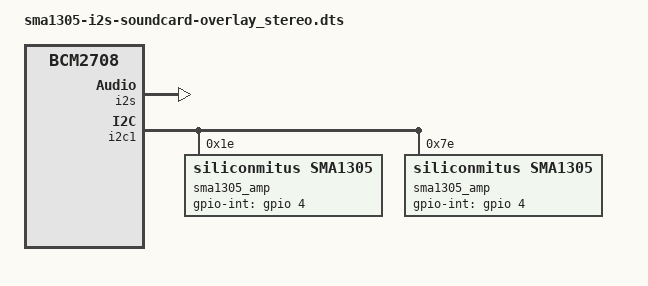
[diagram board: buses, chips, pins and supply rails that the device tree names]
/*
 * Definitions for SMA1305 Amp
 * name : sma1305-i2s-soundcard-overlay.dts
 * Compile for dts
 * dtc -@ -I dts -O dtb -o sma1305-i2s-soundcard.dtbo sma1305-i2s-soundcard-overlay.dts
 * sudo cp sma1305-i2s-soundcard.dtbo /boot/overlays
 * adding dtoverlay sma1305-i2s-soundcard.dtbo in config.txt
 */

/dts-v1/;
/plugin/;

/ {
	compatible = "brcm,bcm2708";

	fragment@0 {
		target = <&i2s>;
		__overlay__ {
			status = "okay";
		};
	};

	fragment@1 {
		target = <&gpio>;
		__overlay__ {
			fault_interrupt_pins: fault_interrupt_pins {
				brcm,pins = <4>;
				brcm,function = <0>; /* input */
				brcm,pull = <2>; /* pull-up */
			};
		};
	};

	fragment@2 {
		target = <&i2c1>;
		__overlay__ {
			#address-cells = <1>;
			#size-cells = <0>;

			status = "okay";

			sma1305_amp: sma1305@1e {
				#sound-dai-cells = <0>;

				compatible = "siliconmitus,sma1305";
				reg = <0x1e>;
				init-vol = <0x32>;
				stereo-two-chip;
				/* EXTERNAL_CLOCK_19_2   : 0x00,
				 * EXTERNAL_CLOCK_24_576 : 0x01,
				 * PLL_CLKIN_MCLK        : 0x02,
				 * PLL_CLKIN_BCLK        : 0x03
				 */
				sma1305,gpio-int= <&gpio 4 0>;
				sys-clk-id = <0x03>;
				qdsp-port-id = <0x1006>; /* AFE_PORT_ID_QUATERNARY_MI2S_RX */
				/* temp-gain-table = <0xF1 0x36 1>,<0xFB 0x35 0>,
						  <0xFF 0x34 0>,<0x05 0x33 0>,
						  <0x0A 0x32 0>,<0x0F 0x31 0>,
						  <0x14 0x30 0>; */
				status = "okay";
			};
			
			sma1305_amp: sma1305@7e {
				#sound-dai-cells = <0>;

				compatible = "siliconmitus,sma1305";
				reg = <0x7e>;
				init-vol = <0x32>;
				stereo-two-chip;
				/* EXTERNAL_CLOCK_19_2   : 0x00,
				 * EXTERNAL_CLOCK_24_576 : 0x01,
				 * PLL_CLKIN_MCLK        : 0x02,
				 * PLL_CLKIN_BCLK        : 0x03
				 */
				sma1305,gpio-int= <&gpio 4 0>;
				sys-clk-id = <0x03>;
				qdsp-port-id = <0x1006>; /* AFE_PORT_ID_QUATERNARY_MI2S_RX */
				/* temp-gain-table = <0xF1 0x36 1>,<0xFB 0x35 0>,
						  <0xFF 0x34 0>,<0x05 0x33 0>,
						  <0x0A 0x32 0>,<0x0F 0x31 0>,
						  <0x14 0x30 0>; */
				status = "okay";
			};
		};
	};

	fragment@3 {
		target = <&sound>;
		__overlay__ {
			compatible = "simple-audio-card";
			simple-audio-card,name = "sma1305_soundcard";
			simple-audio-card,format = "i2s";
			simple-audio-card,bitclock-slave = <&codec_dai>;
			simple-audio-card,frame-slave = <&codec_dai>;
			status = "okay";
			cpu_dai: simple-audio-card,cpu {
				sound-dai = <&i2s>;
			};
			codec_dai: simple-audio-card,codec {
				sound-dai = <&sma1305_amp>;
			};
		};
	};
};
